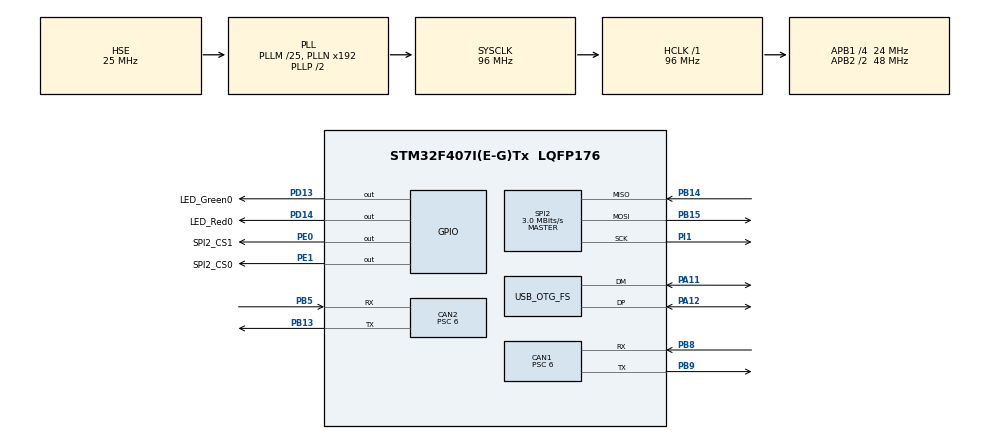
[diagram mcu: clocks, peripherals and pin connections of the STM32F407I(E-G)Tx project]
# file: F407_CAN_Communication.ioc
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CAN1.ABOM=ENABLE
CAN1.BS1=CAN_BS1_2TQ
CAN1.CalculateBaudRate=1000000
CAN1.CalculateTimeBit=1000.00
CAN1.CalculateTimeQuantum=250.0
CAN1.NART=ENABLE
CAN1.Prescaler=6
CAN1.TTCM=DISABLE
CAN1.TXFP=ENABLE
CAN2.ABOM=ENABLE
CAN2.BS1=CAN_BS1_2TQ
CAN2.CalculateBaudRate=1000000
CAN2.CalculateTimeBit=1000.00
CAN2.CalculateTimeQuantum=250.0
CAN2.NART=ENABLE
CAN2.Prescaler=6
CAN2.TXFP=ENABLE
Mcu.Family=STM32F4
Mcu.Name=STM32F407I(E-G)Tx
Mcu.Package=LQFP176
NVIC.CAN1_RX0_IRQn=true\:0\:0\:false\:false\:true\:true\:true
NVIC.CAN1_RX1_IRQn=true\:0\:0\:false\:false\:true\:true\:true
NVIC.CAN1_SCE_IRQn=true\:0\:0\:false\:false\:true\:true\:true
NVIC.CAN1_TX_IRQn=true\:0\:0\:false\:false\:true\:true\:true
NVIC.CAN2_RX0_IRQn=true\:0\:0\:false\:false\:true\:true\:true
NVIC.CAN2_RX1_IRQn=true\:0\:0\:false\:false\:true\:true\:true
NVIC.CAN2_SCE_IRQn=true\:0\:0\:false\:false\:true\:true\:true
NVIC.CAN2_TX_IRQn=true\:0\:0\:false\:false\:true\:true\:true
NVIC.OTG_FS_IRQn=true\:0\:0\:false\:false\:true\:false\:true
NVIC.PriorityGroup=NVIC_PRIORITYGROUP_4
NVIC.SPI2_IRQn=true\:0\:0\:false\:false\:true\:true\:true
NVIC.TIM2_IRQn=true\:0\:0\:false\:false\:true\:true\:true
NVIC.TIM8_TRG_COM_TIM14_IRQn=true\:0\:0\:false\:false\:true\:true\:true
PA11.Mode=Device_Only
PA11.Signal=USB_OTG_FS_DM
PA12.Mode=Device_Only
PA12.Signal=USB_OTG_FS_DP
PA13.Mode=Serial_Wire
PA13.Signal=SYS_JTMS-SWDIO
PA14.Mode=Serial_Wire
PA14.Signal=SYS_JTCK-SWCLK
PB13.Mode=CAN_Activate
PB13.Signal=CAN2_TX
PB14.Mode=Full_Duplex_Master
PB14.Signal=SPI2_MISO
PB15.Mode=Full_Duplex_Master
PB15.Signal=SPI2_MOSI
PB5.Mode=CAN_Activate
PB5.Signal=CAN2_RX
PB8.Mode=CAN_Activate
PB8.Signal=CAN1_RX
PB9.Mode=CAN_Activate
PB9.Signal=CAN1_TX
PD13.GPIO_Label=LED_Green0
PD13.GPIO_PuPd=GPIO_NOPULL
PD13.PinState=GPIO_PIN_SET
PD13.Signal=GPIO_Output
PD14.GPIO_Label=LED_Red0
PD14.GPIO_PuPd=GPIO_NOPULL
PD14.PinState=GPIO_PIN_SET
PD14.Signal=GPIO_Output
PE0.GPIO_Label=SPI2_CS1
PE0.GPIO_PuPd=GPIO_PULLUP
PE0.GPIO_Speed=GPIO_SPEED_FREQ_MEDIUM
PE0.Signal=GPIO_Output
PE1.GPIO_Label=SPI2_CS0
PE1.GPIO_PuPd=GPIO_PULLUP
PE1.GPIO_Speed=GPIO_SPEED_FREQ_MEDIUM
PE1.PinState=GPIO_PIN_SET
PE1.Signal=GPIO_Output
PH0-OSC_IN.Mode=HSE-External-Oscillator
PH0-OSC_IN.Signal=RCC_OSC_IN
PH1-OSC_OUT.Mode=HSE-External-Oscillator
PH1-OSC_OUT.Signal=RCC_OSC_OUT
PI1.Mode=Full_Duplex_Master
PI1.Signal=SPI2_SCK
ProjectManager.HeapSize=0x200
ProjectManager.StackSize=0x400
ProjectManager.TargetToolchain=STM32CubeIDE
RCC.48MHZClocksFreq_Value=48000000
RCC.AHBFreq_Value=96000000
RCC.APB1CLKDivider=RCC_HCLK_DIV4
RCC.APB1Freq_Value=24000000
RCC.APB1TimFreq_Value=48000000
RCC.APB2CLKDivider=RCC_HCLK_DIV2
RCC.APB2Freq_Value=48000000
RCC.APB2TimFreq_Value=96000000
RCC.CortexFreq_Value=96000000
RCC.HCLKFreq_Value=96000000
RCC.HSE_VALUE=25000000
RCC.HSI_VALUE=16000000
RCC.LSE_VALUE=32768
RCC.PLLM=25
RCC.SYSCLKFreq_VALUE=96000000
RCC.SYSCLKSource=RCC_SYSCLKSOURCE_PLLCLK
RCC.VCOOutputFreq_Value=192000000
SPI2.BaudRatePrescaler=SPI_BAUDRATEPRESCALER_8
SPI2.CLKPolarity=SPI_POLARITY_LOW
SPI2.CRCCalculation=SPI_CRCCALCULATION_DISABLE
SPI2.CalculateBaudRate=3.0 MBits/s
SPI2.Direction=SPI_DIRECTION_2LINES
SPI2.Mode=SPI_MODE_MASTER
SPI2.VirtualType=VM_MASTER
TIM14.Period=9999
TIM14.Prescaler=4799
TIM2.Period=9999
TIM2.Prescaler=479
USB_DEVICE.CLASS_NAME_FS=CDC
USB_DEVICE.VirtualMode-CDC_FS=Cdc
USB_DEVICE.VirtualModeFS=Cdc_FS
USB_OTG_FS.VirtualMode=Device_Only
VP_TIM14_VS_ClockSourceINT.Mode=Enable_Timer
VP_TIM2_VS_ClockSourceINT.Mode=Internal
VP_USB_DEVICE_VS_USB_DEVICE_CDC_FS.Mode=CDC_FS
board=custom

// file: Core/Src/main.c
/* USER CODE BEGIN Header */
/**
  ******************************************************************************
  * @file           : main.c
  * @brief          : Main program body
  ******************************************************************************
  * @attention
  *
  * <h2><center>&copy; Copyright (c) 2021 STMicroelectronics.
  * All rights reserved.</center></h2>
  *
  * This software component is licensed by ST under BSD 3-Clause license,
  * the "License"; You may not use this file except in compliance with the
  * License. You may obtain a copy of the License at:
  *                        opensource.org/licenses/BSD-3-Clause
  *
  ******************************************************************************
  */
/* USER CODE END Header */
#include "main.h"
#include "usb_device.h"

/* USER CODE BEGIN Includes */
#include "usbd_cdc_if.h"
#include "CANSPI.h"
/* USER CODE END Includes */

/* USER CODE BEGIN PM */
#define MCP2515_FIRST 0
#define MCP2515_SECOND 1
#define DELAY(t_del) uint32_t x = 0; while(x != t_del) { x ++; }
/* USER CODE END PM */

CAN_HandleTypeDef hcan1;
CAN_HandleTypeDef hcan2;

SPI_HandleTypeDef hspi2;

TIM_HandleTypeDef htim2;
TIM_HandleTypeDef htim14;

/* USER CODE BEGIN PV */

CAN_TxHeaderTypeDef TxHeader1;
CAN_TxHeaderTypeDef TxHeader2;
CAN_RxHeaderTypeDef RxHeader;

uCAN_MSG MCP2515txMessageFirst;
uCAN_MSG MCP2515rxMessageFirst;
uCAN_MSG MCP2515txMessageSecond;
uCAN_MSG MCP2515rxMessageSecond;

uint8_t TxData1[8] = {1, 2, 3, 4, 5, 6, 7, 8};
uint8_t TxData2[8] = {101, 102, 103, 104, 105, 106, 107, 108};
uint8_t RxData[8]  = {};

uint8_t OutputBuffer[100] = {};

uint32_t TxMailbox = 0;

uint8_t PLC_Transmit_Flag = 0;
uint8_t MCP_Transmit_Flag = 0;

uint8_t MCP_Receiving_State = 0;
/* 0 - none of the modules received a message
 * 1 - only one module received a message
 * 2 - both modules received a message */

/* USER CODE END PV */

void SystemClock_Config(void);
static void MX_GPIO_Init(void);
static void MX_TIM2_Init(void);
static void MX_SPI2_Init(void);
static void MX_CAN2_Init(void);
static void MX_CAN1_Init(void);
static void MX_TIM14_Init(void);

/* USER CODE BEGIN 0 */

void HAL_CAN_TxMailbox0CompleteCallback (CAN_HandleTypeDef * hcan)
{
	PLC_Transmit_Flag = 1;
}

void HAL_CAN_RxFifo0MsgPendingCallback(CAN_HandleTypeDef *hcan)
{
    if(HAL_CAN_GetRxMessage(hcan, CAN_RX_FIFO0, &RxHeader, RxData) == HAL_OK)
    {
    	switch(RxHeader.StdId)
    	{
    	case 0x400:
    		MCP_Transmit_Flag = 0;

			TxHeader1.StdId = 0x300;
			TxHeader1.ExtId = RxHeader.ExtId;
			TxHeader1.RTR   = RxHeader.RTR;
			TxHeader1.IDE   = RxHeader.IDE;
			TxHeader1.DLC   = RxHeader.DLC;
			TxHeader1.TransmitGlobalTime = 0;

			for(uint8_t i = 0; i < TxHeader1.DLC; i++)
			{
				TxData1[i] = RxData[i] + 2;
			}

			HAL_CAN_AddTxMessage(hcan, &TxHeader1, TxData1, &TxMailbox);

			break;
    	case 0x401:
    		MCP_Transmit_Flag = 0;

			TxHeader2.StdId = 0x301;
			TxHeader2.ExtId = RxHeader.ExtId;
			TxHeader2.RTR   = RxHeader.RTR;
			TxHeader2.IDE   = RxHeader.IDE;
			TxHeader2.DLC   = RxHeader.DLC;
			TxHeader2.TransmitGlobalTime = 0;

			for(uint8_t i = 0; i < TxHeader2.DLC; i++)
			{
				TxData2[i] = RxData[i] + 2;
			}

			HAL_CAN_AddTxMessage(hcan, &TxHeader2, TxData2, &TxMailbox);

			break;
    	case 0x300:
    		MCP_Transmit_Flag = 0;

			TxHeader1.StdId = 0x412;
			TxHeader1.ExtId = RxHeader.ExtId;
			TxHeader1.RTR   = RxHeader.RTR;
			TxHeader1.IDE   = RxHeader.IDE;
			TxHeader1.DLC   = RxHeader.DLC;
			TxHeader1.TransmitGlobalTime = 0;

			for(uint8_t i = 0; i < TxHeader1.DLC; i++)
			{
				TxData1[i] = RxData[i] + 2;
			}

			MCP_Receiving_State--;
			HAL_CAN_AddTxMessage(hcan, &TxHeader1, TxData1, &TxMailbox);

			break;
    	case 0x301:
    		MCP_Transmit_Flag = 0;

			TxHeader2.StdId = 0x258;
			TxHeader2.ExtId = RxHeader.ExtId;
			TxHeader2.RTR   = RxHeader.RTR;
			TxHeader2.IDE   = RxHeader.IDE;
			TxHeader2.DLC   = RxHeader.DLC;
			TxHeader2.TransmitGlobalTime = 0;

			for(uint8_t i = 0; i < TxHeader2.DLC; i++)
			{
				TxData2[i] = RxData[i] + 2;
			}

			MCP_Receiving_State--;
			HAL_CAN_AddTxMessage(hcan, &TxHeader2, TxData2, &TxMailbox);

			break;
    	}
    }
}

void HAL_CAN_ErrorCallback(CAN_HandleTypeDef *hcan)
{
    uint8_t er[100] = {};

    snprintf((char *)OutputBuffer, 100, "ERROR_CODE is: %d \r\n", (uint8_t)HAL_CAN_GetError(hcan));
    CDC_Transmit_FS(OutputBuffer, strlen((char *)OutputBuffer));

    CDC_Transmit_FS(er, 8);
}

void HAL_TIM_PeriodElapsedCallback(TIM_HandleTypeDef *htim)
{
	if((htim == &htim2) && (PLC_Transmit_Flag == 1))
	{
		if(PLC_Transmit_Flag == 1)
		{
			 HAL_GPIO_TogglePin(GPIOD, LED_Green0_Pin);
		}
		if(CANSPI_Receive(&MCP2515rxMessageFirst, MCP2515_FIRST))
		{
		  MCP_Receiving_State++;
		  PLC_Transmit_Flag = 0;

		  MCP2515txMessageFirst.frame.idType = MCP2515rxMessageFirst.frame.idType;
		  MCP2515txMessageFirst.frame.id     = 0x400;
		  MCP2515txMessageFirst.frame.dlc    = MCP2515rxMessageFirst.frame.dlc;
		  MCP2515txMessageFirst.frame.data0  = MCP2515rxMessageFirst.frame.data0 + 1;
		  MCP2515txMessageFirst.frame.data1  = MCP2515rxMessageFirst.frame.data1 + 1;
		  MCP2515txMessageFirst.frame.data2  = MCP2515rxMessageFirst.frame.data2 + 1;
		  MCP2515txMessageFirst.frame.data3  = MCP2515rxMessageFirst.frame.data3 + 1;
		  MCP2515txMessageFirst.frame.data4  = MCP2515rxMessageFirst.frame.data4 + 1;
		  MCP2515txMessageFirst.frame.data5  = MCP2515rxMessageFirst.frame.data5 + 1;
		  MCP2515txMessageFirst.frame.data6  = MCP2515rxMessageFirst.frame.data6 + 1;
		  MCP2515txMessageFirst.frame.data7  = MCP2515rxMessageFirst.frame.data7 + 1;
		}

		if(CANSPI_Receive(&MCP2515rxMessageSecond, MCP2515_SECOND))
		{
		  MCP_Receiving_State++;
	      PLC_Transmit_Flag = 0;

		  MCP2515txMessageSecond.frame.idType = MCP2515rxMessageSecond.frame.idType;
		  MCP2515txMessageSecond.frame.id     = 0x401;
		  MCP2515txMessageSecond.frame.dlc    = MCP2515rxMessageSecond.frame.dlc;
		  MCP2515txMessageSecond.frame.data0  = MCP2515rxMessageSecond.frame.data0 + 1;
		  MCP2515txMessageSecond.frame.data1  = MCP2515rxMessageSecond.frame.data1 + 1;
		  MCP2515txMessageSecond.frame.data2  = MCP2515rxMessageSecond.frame.data2 + 1;
		  MCP2515txMessageSecond.frame.data3  = MCP2515rxMessageSecond.frame.data3 + 1;
		  MCP2515txMessageSecond.frame.data4  = MCP2515rxMessageSecond.frame.data4 + 1;
		  MCP2515txMessageSecond.frame.data5  = MCP2515rxMessageSecond.frame.data5 + 1;
		  MCP2515txMessageSecond.frame.data6  = MCP2515rxMessageSecond.frame.data6 + 1;
		  MCP2515txMessageSecond.frame.data7  = MCP2515rxMessageSecond.frame.data7 + 1;
		}
		/* MCP2515_1 and MCP2515_2 messages transmitting */
		if((CANSPI_Transmit(&MCP2515txMessageFirst, MCP2515_FIRST)) &&
		   (CANSPI_Transmit(&MCP2515txMessageSecond, MCP2515_SECOND)))
		{
			  MCP_Transmit_Flag = 1;

			  HAL_GPIO_TogglePin(GPIOD, LED_Red0_Pin);
		}
	}
	else if(htim == &htim14)
	{
		snprintf((char *)OutputBuffer, 100, "Last data received by CAN1 or CAN2 is: ID %d DATA %s \r\n", (uint16_t)RxHeader.StdId, RxData);
		CDC_Transmit_FS(OutputBuffer, strlen((char *)OutputBuffer));
	}
}
/* USER CODE END 0 */

int main(void)
{

  /* MCU Configuration--------------------------------------------------------*/

  /* Reset of all peripherals, Initializes the Flash interface and the Systick. */
  HAL_Init();

  /* Configure the system clock */
  SystemClock_Config();

  /* Initialize all configured peripherals */
  MX_GPIO_Init();
  MX_USB_DEVICE_Init();
  MX_TIM2_Init();
  MX_SPI2_Init();
  MX_CAN2_Init();
  MX_CAN1_Init();
  MX_TIM14_Init();
  /* USER CODE BEGIN 2 */

  /* MCP2515 initializing */
  CANSPI_Initialize(MCP2515_FIRST);
  CANSPI_Initialize(MCP2515_SECOND);

  /* TIM2 and TIM14 Interrupt Mode Activating */
  HAL_TIM_Base_Start_IT(&htim2);
  HAL_TIM_Base_Start_IT(&htim14);

  /* CAN Starting */
  HAL_CAN_Start(&hcan1);
  HAL_CAN_Start(&hcan2);

  /* Activating CAN notifications */
  HAL_CAN_ActivateNotification(&hcan1, CAN_IT_TX_MAILBOX_EMPTY |
									   CAN_IT_RX_FIFO1_MSG_PENDING |
									   CAN_IT_RX_FIFO0_MSG_PENDING |
									   CAN_IT_ERROR |
									   CAN_IT_BUSOFF |
									   CAN_IT_LAST_ERROR_CODE);

  HAL_CAN_ActivateNotification(&hcan2, CAN_IT_TX_MAILBOX_EMPTY |
									   CAN_IT_RX_FIFO1_MSG_PENDING |
									   CAN_IT_RX_FIFO0_MSG_PENDING |
									   CAN_IT_ERROR |
									   CAN_IT_BUSOFF |
		                               CAN_IT_LAST_ERROR_CODE);

  /* Messages Configuration */
  TxHeader1.StdId = 0x412;
  TxHeader1.ExtId = 0;
  TxHeader1.RTR   = CAN_RTR_DATA;
  TxHeader1.IDE   = CAN_ID_STD;
  TxHeader1.DLC   = 8;
  TxHeader1.TransmitGlobalTime = 0;

  TxHeader2.StdId = 0x258;
  TxHeader2.ExtId = 0;
  TxHeader2.RTR   = CAN_RTR_DATA;
  TxHeader2.IDE   = CAN_ID_STD;
  TxHeader2.DLC   = 8;
  TxHeader2.TransmitGlobalTime = 0;

  /* CAN2 to MCP2515_FIRST and MCP2515_SECOND messages transmitting */

  while(!(HAL_SPI_GetState(&hspi2) == HAL_SPI_STATE_READY));

  while(HAL_CAN_GetTxMailboxesFreeLevel(&hcan2) == 0);

  HAL_CAN_AddTxMessage(&hcan2, &TxHeader1, TxData1, &TxMailbox);
  HAL_CAN_AddTxMessage(&hcan2, &TxHeader2, TxData2, &TxMailbox);

  /* USER CODE END 2 */

  /* Infinite loop */
  while (1)
  {

  }
}

void SystemClock_Config(void)
{
  RCC_OscInitTypeDef RCC_OscInitStruct = {0};
  RCC_ClkInitTypeDef RCC_ClkInitStruct = {0};

  /** Configure the main internal regulator output voltage
  */
  __HAL_RCC_PWR_CLK_ENABLE();
  __HAL_PWR_VOLTAGESCALING_CONFIG(PWR_REGULATOR_VOLTAGE_SCALE1);
  /** Initializes the RCC Oscillators according to the specified parameters
  * in the RCC_OscInitTypeDef structure.
  */
  RCC_OscInitStruct.OscillatorType = RCC_OSCILLATORTYPE_HSE;
  RCC_OscInitStruct.HSEState = RCC_HSE_ON;
  RCC_OscInitStruct.PLL.PLLState = RCC_PLL_ON;
  RCC_OscInitStruct.PLL.PLLSource = RCC_PLLSOURCE_HSE;
  RCC_OscInitStruct.PLL.PLLM = 25;
  RCC_OscInitStruct.PLL.PLLN = 192;
  RCC_OscInitStruct.PLL.PLLP = RCC_PLLP_DIV2;
  RCC_OscInitStruct.PLL.PLLQ = 4;
  if (HAL_RCC_OscConfig(&RCC_OscInitStruct) != HAL_OK)
  {
    Error_Handler();
  }
  /** Initializes the CPU, AHB and APB buses clocks
  */
  RCC_ClkInitStruct.ClockType = RCC_CLOCKTYPE_HCLK|RCC_CLOCKTYPE_SYSCLK
                              |RCC_CLOCKTYPE_PCLK1|RCC_CLOCKTYPE_PCLK2;
  RCC_ClkInitStruct.SYSCLKSource = RCC_SYSCLKSOURCE_PLLCLK;
  RCC_ClkInitStruct.AHBCLKDivider = RCC_SYSCLK_DIV1;
  RCC_ClkInitStruct.APB1CLKDivider = RCC_HCLK_DIV4;
  RCC_ClkInitStruct.APB2CLKDivider = RCC_HCLK_DIV2;

  if (HAL_RCC_ClockConfig(&RCC_ClkInitStruct, FLASH_LATENCY_3) != HAL_OK)
  {
    Error_Handler();
  }
}

static void MX_CAN1_Init(void)
{

  hcan1.Instance = CAN1;
  hcan1.Init.Prescaler = 6;
  hcan1.Init.Mode = CAN_MODE_NORMAL;
  hcan1.Init.SyncJumpWidth = CAN_SJW_1TQ;
  hcan1.Init.TimeSeg1 = CAN_BS1_2TQ;
  hcan1.Init.TimeSeg2 = CAN_BS2_1TQ;
  hcan1.Init.TimeTriggeredMode = DISABLE;
  hcan1.Init.AutoBusOff = ENABLE;
  hcan1.Init.AutoWakeUp = DISABLE;
  hcan1.Init.AutoRetransmission = ENABLE;
  hcan1.Init.ReceiveFifoLocked = DISABLE;
  hcan1.Init.TransmitFifoPriority = ENABLE;
  if (HAL_CAN_Init(&hcan1) != HAL_OK)
  {
    Error_Handler();
  }
  /* USER CODE BEGIN CAN1_Init 2 */
  CAN_FilterTypeDef  FilterConfigCAN1;

  FilterConfigCAN1.FilterBank = 0;
  FilterConfigCAN1.FilterMode = CAN_FILTERMODE_IDMASK;
  FilterConfigCAN1.FilterScale = CAN_FILTERSCALE_32BIT;
  FilterConfigCAN1.FilterIdHigh = 0x400 << 5;
  FilterConfigCAN1.FilterIdLow = 0x0000;
  FilterConfigCAN1.FilterMaskIdHigh = 0x7FE << 5;
  FilterConfigCAN1.FilterMaskIdLow = 0x0000;
  FilterConfigCAN1.FilterFIFOAssignment = CAN_RX_FIFO0;
  FilterConfigCAN1.FilterActivation = ENABLE;
  FilterConfigCAN1.SlaveStartFilterBank = 14;

  if(HAL_CAN_ConfigFilter(&hcan1, &FilterConfigCAN1) != HAL_OK)
  {
	  Error_Handler();
  }

  /* USER CODE END CAN1_Init 2 */

}

static void MX_CAN2_Init(void)
{

  hcan2.Instance = CAN2;
  hcan2.Init.Prescaler = 6;
  hcan2.Init.Mode = CAN_MODE_NORMAL;
  hcan2.Init.SyncJumpWidth = CAN_SJW_1TQ;
  hcan2.Init.TimeSeg1 = CAN_BS1_2TQ;
  hcan2.Init.TimeSeg2 = CAN_BS2_1TQ;
  hcan2.Init.TimeTriggeredMode = DISABLE;
  hcan2.Init.AutoBusOff = ENABLE;
  hcan2.Init.AutoWakeUp = DISABLE;
  hcan2.Init.AutoRetransmission = ENABLE;
  hcan2.Init.ReceiveFifoLocked = DISABLE;
  hcan2.Init.TransmitFifoPriority = ENABLE;
  if (HAL_CAN_Init(&hcan2) != HAL_OK)
  {
    Error_Handler();
  }
  /* USER CODE BEGIN CAN2_Init 2 */
  CAN_FilterTypeDef  FilterConfigCAN2;

  FilterConfigCAN2.FilterBank = 14;
  FilterConfigCAN2.FilterMode = CAN_FILTERMODE_IDMASK;
  FilterConfigCAN2.FilterScale = CAN_FILTERSCALE_32BIT;
  FilterConfigCAN2.FilterIdHigh = 0x300 << 5;
  FilterConfigCAN2.FilterIdLow = 0x0000;
  FilterConfigCAN2.FilterMaskIdHigh = 0x7FE << 5;
  FilterConfigCAN2.FilterMaskIdLow = 0x0000;
  FilterConfigCAN2.FilterFIFOAssignment = CAN_RX_FIFO0;
  FilterConfigCAN2.FilterActivation = ENABLE;
  FilterConfigCAN2.SlaveStartFilterBank = 14;

  if(HAL_CAN_ConfigFilter(&hcan2, &FilterConfigCAN2) != HAL_OK)
  {
	  Error_Handler();
  }
  /* USER CODE END CAN2_Init 2 */

}

static void MX_SPI2_Init(void)
{

  /* SPI2 parameter configuration*/
  hspi2.Instance = SPI2;
  hspi2.Init.Mode = SPI_MODE_MASTER;
  hspi2.Init.Direction = SPI_DIRECTION_2LINES;
  hspi2.Init.DataSize = SPI_DATASIZE_8BIT;
  hspi2.Init.CLKPolarity = SPI_POLARITY_LOW;
  hspi2.Init.CLKPhase = SPI_PHASE_1EDGE;
  hspi2.Init.NSS = SPI_NSS_SOFT;
  hspi2.Init.BaudRatePrescaler = SPI_BAUDRATEPRESCALER_8;
  hspi2.Init.FirstBit = SPI_FIRSTBIT_MSB;
  hspi2.Init.TIMode = SPI_TIMODE_DISABLE;
  hspi2.Init.CRCCalculation = SPI_CRCCALCULATION_DISABLE;
  hspi2.Init.CRCPolynomial = 10;
  if (HAL_SPI_Init(&hspi2) != HAL_OK)
  {
    Error_Handler();
  }

}

static void MX_TIM2_Init(void)
{

  TIM_ClockConfigTypeDef sClockSourceConfig = {0};
  TIM_MasterConfigTypeDef sMasterConfig = {0};

  htim2.Instance = TIM2;
  htim2.Init.Prescaler = 479;
  htim2.Init.CounterMode = TIM_COUNTERMODE_UP;
  htim2.Init.Period = 9999;
  htim2.Init.ClockDivision = TIM_CLOCKDIVISION_DIV1;
  htim2.Init.AutoReloadPreload = TIM_AUTORELOAD_PRELOAD_DISABLE;
  if (HAL_TIM_Base_Init(&htim2) != HAL_OK)
  {
    Error_Handler();
  }
  sClockSourceConfig.ClockSource = TIM_CLOCKSOURCE_INTERNAL;
  if (HAL_TIM_ConfigClockSource(&htim2, &sClockSourceConfig) != HAL_OK)
  {
    Error_Handler();
  }
  sMasterConfig.MasterOutputTrigger = TIM_TRGO_RESET;
  sMasterConfig.MasterSlaveMode = TIM_MASTERSLAVEMODE_DISABLE;
  if (HAL_TIMEx_MasterConfigSynchronization(&htim2, &sMasterConfig) != HAL_OK)
  {
    Error_Handler();
  }

}

static void MX_TIM14_Init(void)
{

  htim14.Instance = TIM14;
  htim14.Init.Prescaler = 4799;
  htim14.Init.CounterMode = TIM_COUNTERMODE_UP;
  htim14.Init.Period = 9999;
  htim14.Init.ClockDivision = TIM_CLOCKDIVISION_DIV1;
  htim14.Init.AutoReloadPreload = TIM_AUTORELOAD_PRELOAD_DISABLE;
  if (HAL_TIM_Base_Init(&htim14) != HAL_OK)
  {
    Error_Handler();
  }

}

static void MX_GPIO_Init(void)
{
  GPIO_InitTypeDef GPIO_InitStruct = {0};

  /* GPIO Ports Clock Enable */
  __HAL_RCC_GPIOH_CLK_ENABLE();
  __HAL_RCC_GPIOB_CLK_ENABLE();
  __HAL_RCC_GPIOD_CLK_ENABLE();
  __HAL_RCC_GPIOA_CLK_ENABLE();
  __HAL_RCC_GPIOI_CLK_ENABLE();
  __HAL_RCC_GPIOE_CLK_ENABLE();

  /*Configure GPIO pin Output Level */
  HAL_GPIO_WritePin(GPIOD, LED_Green0_Pin|LED_Red0_Pin, GPIO_PIN_SET);

  /*Configure GPIO pin Output Level */
  HAL_GPIO_WritePin(SPI2_CS1_GPIO_Port, SPI2_CS1_Pin, GPIO_PIN_RESET);

  /*Configure GPIO pin Output Level */
  HAL_GPIO_WritePin(SPI2_CS0_GPIO_Port, SPI2_CS0_Pin, GPIO_PIN_SET);

  /*Configure GPIO pins : LED_Green0_Pin LED_Red0_Pin */
  GPIO_InitStruct.Pin = LED_Green0_Pin|LED_Red0_Pin;
  GPIO_InitStruct.Mode = GPIO_MODE_OUTPUT_PP;
  GPIO_InitStruct.Pull = GPIO_NOPULL;
  GPIO_InitStruct.Speed = GPIO_SPEED_FREQ_LOW;
  HAL_GPIO_Init(GPIOD, &GPIO_InitStruct);

  /*Configure GPIO pins : SPI2_CS1_Pin SPI2_CS0_Pin */
  GPIO_InitStruct.Pin = SPI2_CS1_Pin|SPI2_CS0_Pin;
  GPIO_InitStruct.Mode = GPIO_MODE_OUTPUT_PP;
  GPIO_InitStruct.Pull = GPIO_PULLUP;
  GPIO_InitStruct.Speed = GPIO_SPEED_FREQ_MEDIUM;
  HAL_GPIO_Init(GPIOE, &GPIO_InitStruct);

}

void Error_Handler(void)
{
  __disable_irq();
  while (1)
  {
  }
}

/************************ (C) COPYRIGHT STMicroelectronics *****END OF FILE****/
